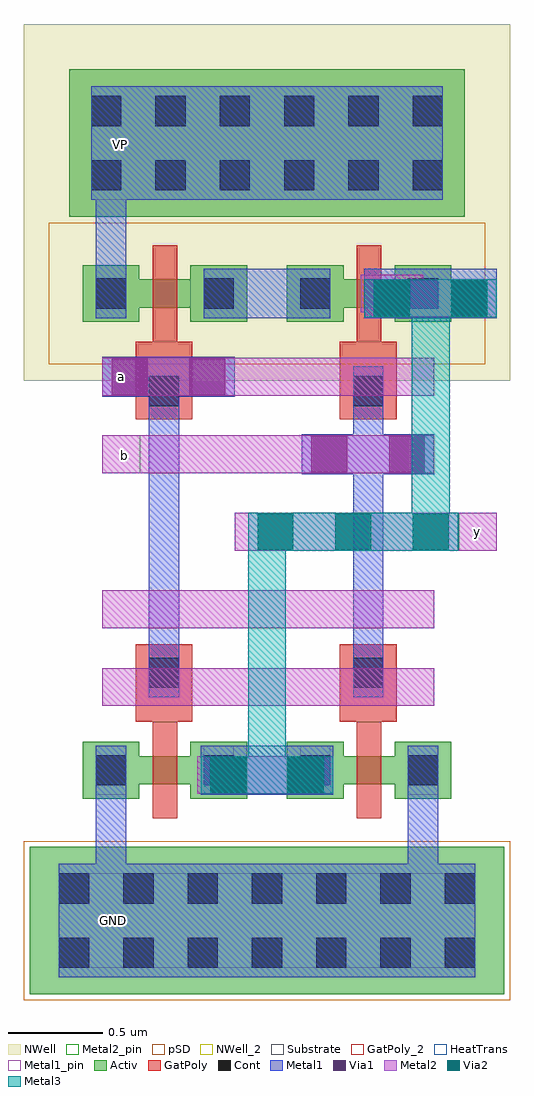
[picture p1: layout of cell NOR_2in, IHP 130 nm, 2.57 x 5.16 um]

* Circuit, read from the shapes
.subckt NOR_2in GND VP a b y
XM1 y a GND GND sg13_lv_nmos w=0.15u l=0.13u
XM2 GND b y GND sg13_lv_nmos w=0.15u l=0.13u
XM3 n1 a VP VP sg13_lv_pmos w=0.15u l=0.13u
XM4 y b n1 VP sg13_lv_pmos w=0.15u l=0.13u
.ends

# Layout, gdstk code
from math import pi, radians
import gdstk
lib = gdstk.Library(unit=1e-6, precision=1e-09)
def R(c, l, rs):  # rectangles x0, y0, x1, y1
    for r in rs: c.add(gdstk.rectangle(r[:2], r[2:], *l))
def A(c, l, x, y, w, h, nx, ny, dx, dy):  # array of equal rectangles
    R(c, l, [(x+i*dx, y+j*dy, x+i*dx+w, y+j*dy+h) for i in range(nx) for j in range(ny)])
Activ = (1, 0)
GatPoly = (5, 0)
GatPoly_2 = (5, 2)
Cont = (6, 0)
Metal1 = (8, 0)
Metal1_pin = (8, 2)
Metal2 = (10, 0)
Metal2_pin = (10, 2)
pSD = (14, 0)
Via1 = (19, 0)
Via2 = (29, 0)
Metal3 = (30, 0)
NWell = (31, 0)
NWell_2 = (31, 2)
Substrate = (40, 0)
HeatTrans = (51, 0)

via_4_1_1 = lib.new_cell('Via$4$1$1')
R(via_4_1_1, Metal2, [(-0.1,-0.35,0.1,0.35)])
R(via_4_1_1, Via2, [(-0.095,-0.3,0.095,-0.11), (-0.095,0.11,0.095,0.3)])
R(via_4_1_1, Metal3, [(-0.1,-0.35,0.1,0.35)])

via_2_1_1 = lib.new_cell('Via$2$1$1')
R(via_2_1_1, Metal1, [(-0.105,-0.35,0.105,0.35)])
R(via_2_1_1, Metal2, [(-0.1,-0.35,0.1,0.35)])
R(via_2_1_1, Via1, [(-0.095,-0.3,0.095,-0.11), (-0.095,0.11,0.095,0.3)])

ntap1_1_1 = lib.new_cell('ntap1$1$1')
R(ntap1_1_1, Activ, [(0,0,2.09,0.78)])
A(ntap1_1_1, Cont, 0.115, 0.14, 0.16, 0.16, 6, 2, 0.34, 0.34)
R(ntap1_1_1, Metal1, [(0.115,0.09,1.975,0.69)])
R(ntap1_1_1, Metal1_pin, [(0.115,0.09,1.975,0.69), (0.115,0.14,1.975,0.64)])
R(ntap1_1_1, NWell, [(-0.24,-0.24,2.33,1.02), (0,0,2.09,0.78)])
R(ntap1_1_1, NWell_2, [(0,0,2.09,0.78)])
ntap1_1_1.add(gdstk.Label('well', (1.045,0.01), layer=63, texttype=0))
ntap1_1_1.add(gdstk.Label('well', (1.045,0.01), layer=31, texttype=0))

ptap1_1_1 = lib.new_cell('ptap1$1$1')
R(ptap1_1_1, Activ, [(0,0,2.51,0.78)])
A(ptap1_1_1, Cont, 0.155, 0.14, 0.16, 0.16, 7, 2, 0.34, 0.34)
R(ptap1_1_1, Metal1, [(0.155,0.09,2.355,0.69), (0.155,0.14,2.355,0.64)])
R(ptap1_1_1, Metal1_pin, [(0.155,0.14,2.355,0.64)])
R(ptap1_1_1, pSD, [(-0.03,-0.03,2.54,0.81)])
R(ptap1_1_1, Substrate, [(0,0,2.51,0.78)])
ptap1_1_1.add(gdstk.Label('sub!', (1.255,0.01), layer=63, texttype=0))
ptap1_1_1.add(gdstk.Label('sub!', (1.255,0.01), layer=40, texttype=0))

nmos_1_1 = lib.new_cell('nmos$1$1')
R(nmos_1_1, Activ, [(0,0,0.3,0.3), (0.57,0,0.87,0.3), (0,0.075,0.87,0.225)])
R(nmos_1_1, GatPoly, [(0.37,-0.105,0.5,0.405)])
R(nmos_1_1, GatPoly_2, [(0.37,-0.105,0.5,0.405)])
R(nmos_1_1, Cont, [(0.07,0.07,0.23,0.23), (0.64,0.07,0.8,0.23)])
R(nmos_1_1, Metal1, [(0.07,0.02,0.23,0.28), (0.64,0.02,0.8,0.28)])
R(nmos_1_1, Metal1_pin, [(0.07,0.02,0.23,0.28), (0.64,0.02,0.8,0.28)])
R(nmos_1_1, HeatTrans, [(0.37,-0.105,0.5,0.405)])
nmos_1_1.add(gdstk.Label('nmos', (0.435,0.15), layer=63, texttype=0))
nmos_1_1.add(gdstk.Label('nmos', (0.435,0.15), layer=51, texttype=0))

pmos_1_1 = lib.new_cell('pmos$1$1')
R(pmos_1_1, Activ, [(0,0,0.3,0.3), (0.57,0,0.87,0.3), (0,0.075,0.87,0.225)])
R(pmos_1_1, GatPoly, [(0.37,-0.105,0.5,0.405), (0.37,-0.105,0.5,0.405)])
R(pmos_1_1, Cont, [(0.07,0.07,0.23,0.23), (0.64,0.07,0.8,0.23)])
R(pmos_1_1, Metal1, [(0.07,0.02,0.23,0.28), (0.07,0.02,0.23,0.28), (0.64,0.02,0.8,0.28), (0.64,0.02,0.8,0.28)])
R(pmos_1_1, pSD, [(-0.18,-0.225,1.05,0.525)])
R(pmos_1_1, NWell, [(-0.31,-0.31,1.18,0.61)])
R(pmos_1_1, Substrate, [(0.57,0,0.87,0.3)])
R(pmos_1_1, HeatTrans, [(0.37,-0.105,0.5,0.405)])
pmos_1_1.add(gdstk.Label('pmos', (0.435,0.15), layer=63, texttype=0))
pmos_1_1.add(gdstk.Label('pmos', (0.435,0.15), layer=51, texttype=0))

via_8_3 = lib.new_cell('Via$8$3')
R(via_8_3, GatPoly, [(-0.15,-0.15,0.15,0.15)])
R(via_8_3, Cont, [(-0.08,-0.08,0.08,0.08)])
R(via_8_3, Metal1, [(-0.13,-0.08,0.13,0.08)])

via_7_1_1 = lib.new_cell('Via$7$1$1')
R(via_7_1_1, Metal2, [(-0.555,-0.1,0.555,0.1)])
A(via_7_1_1, Via2, -0.505, -0.095, 0.19, 0.19, 3, 1, 0.41, 0)
R(via_7_1_1, Metal3, [(-0.555,-0.1,0.555,0.1)])

via_6_1_1 = lib.new_cell('Via$6$1$1')
R(via_6_1_1, Metal1, [(-0.35,-0.105,0.35,0.105)])
R(via_6_1_1, Metal2, [(-0.35,-0.1,0.35,0.1)])
R(via_6_1_1, Via1, [(-0.3,-0.095,-0.11,0.095), (0.11,-0.095,0.3,0.095)])

nor_2in = lib.new_cell('NOR_2in')
R(nor_2in, GatPoly, [(9.375,7.165,9.675,7.275), (10.455,7.165,10.755,7.275), (9.375,9.065,9.675,9.175), (10.455,9.065,10.755,9.175)])
R(nor_2in, Metal1, [(9.72,6.78,10.42,7.04), (9.735,6.78,10.405,7.04), (9.735,9.3,10.405,9.56), (10.585,9.3,11.285,9.56)])
R(nor_2in, Metal1_pin, [(9.16,6.015,9.36,6.215), (9.325,10.12,9.525,10.32)])
R(nor_2in, Metal2_pin, [(11.085,8.07,11.285,8.27), (9.2,8.48,9.4,8.68), (9.2,8.89,9.4,9.09)])
nor_2in.add(gdstk.FlexPath([(9.9,8.17),(11.285,8.17)], 0.2, ends="flush", simple_path=True, layer=10, datatype=0))  # Metal2
nor_2in.add(gdstk.FlexPath([(9.865,6.885),(9.7,6.885)], 0.2, ends="flush", simple_path=True, layer=10, datatype=0))  # Metal2
nor_2in.add(gdstk.FlexPath([(10.895,9.43),(10.565,9.43)], 0.2, ends="flush", simple_path=True, layer=10, datatype=0))  # Metal2
nor_2in.add(gdstk.FlexPath([(10.43,8.58),(10.43,8.58)], 0.2, ends="flush", simple_path=True, layer=10, datatype=0))  # Metal2
nor_2in.add(gdstk.FlexPath([(9.2,8.99),(10.955,8.99)], 0.2, ends="flush", simple_path=True, layer=10, datatype=0))  # Metal2
nor_2in.add(gdstk.FlexPath([(9.2,8.58),(10.955,8.58)], 0.2, ends="flush", simple_path=True, layer=10, datatype=0))  # Metal2
nor_2in.add(gdstk.FlexPath([(9.2,7.76),(10.955,7.76)], 0.2, ends="flush", simple_path=True, layer=10, datatype=0))  # Metal2
nor_2in.add(gdstk.FlexPath([(9.2,7.35),(10.955,7.35)], 0.2, ends="flush", simple_path=True, layer=10, datatype=0))  # Metal2
nor_2in.add(gdstk.FlexPath([(10.935,9.405),(10.935,8.075)], 0.2, ends="flush", simple_path=True, layer=30, datatype=0))  # Metal3
nor_2in.add(gdstk.FlexPath([(10.07,8.17),(10.07,6.935)], 0.2, ends="flush", simple_path=True, layer=30, datatype=0))  # Metal3
nor_2in.add(gdstk.FlexPath([(10.895,6.91),(10.895,6.415)], 0.16, ends="flush", simple_path=True, layer=8, datatype=0))  # Metal1
nor_2in.add(gdstk.FlexPath([(9.245,9.56),(9.245,10.525)], 0.16, ends="flush", simple_path=True, layer=8, datatype=0))  # Metal1
nor_2in.add(gdstk.FlexPath([(9.245,6.78),(9.245,6.415)], 0.16, ends="flush", simple_path=True, layer=8, datatype=0))  # Metal1
nor_2in.add(gdstk.FlexPath([(9.525,7.555),(9.525,8.785)], 0.16, ends="flush", simple_path=True, layer=8, datatype=0))  # Metal1
nor_2in.add(gdstk.FlexPath([(10.605,7.555),(10.605,8.785)], 0.16, ends="flush", simple_path=True, layer=8, datatype=0))  # Metal1
nor_2in.add(gdstk.Reference(via_4_1_1, (10.935,9.405), rotation=3*pi/2))
nor_2in.add(gdstk.Reference(via_2_1_1, (10.935,9.405), rotation=3*pi/2))
nor_2in.add(gdstk.Reference(ntap1_1_1, (9.025,9.835)))
nor_2in.add(gdstk.Reference(ptap1_1_1, (8.815,5.725)))
nor_2in.add(gdstk.Reference(nmos_1_1, (10.175,6.76)))
nor_2in.add(gdstk.Reference(pmos_1_1, (10.175,9.28)))
nor_2in.add(gdstk.Reference(nmos_1_1, (9.095,6.76)))
nor_2in.add(gdstk.Reference(pmos_1_1, (9.095,9.28)))
nor_2in.add(gdstk.Reference(via_8_3, (9.525,8.915), rotation=pi/2))
nor_2in.add(gdstk.Reference(via_8_3, (10.605,8.915), rotation=pi/2))
nor_2in.add(gdstk.Reference(via_8_3, (10.605,7.425), rotation=3*pi/2))
nor_2in.add(gdstk.Reference(via_8_3, (9.525,7.425), rotation=3*pi/2))
nor_2in.add(gdstk.Reference(via_2_1_1, (10.605,8.58), rotation=3*pi/2))
nor_2in.add(gdstk.Reference(via_7_1_1, (10.525,8.17)))
nor_2in.add(gdstk.Reference(via_2_1_1, (10.07,6.885), rotation=3*pi/2))
nor_2in.add(gdstk.Reference(via_4_1_1, (10.07,6.885), rotation=3*pi/2))
nor_2in.add(gdstk.Reference(via_6_1_1, (9.55,8.99)))
nor_2in.add(gdstk.Label('y', (11.185,8.17), layer=10, texttype=25))
nor_2in.add(gdstk.Label('b', (9.315,8.575), layer=10, texttype=25))
nor_2in.add(gdstk.Label('a', (9.3,8.99), layer=10, texttype=25))
nor_2in.add(gdstk.Label('VP', (9.295,10.22), layer=8, texttype=25))
nor_2in.add(gdstk.Label('GND', (9.26,6.115), layer=8, texttype=25))

lib.write_gds('NOR_2in.gds')
